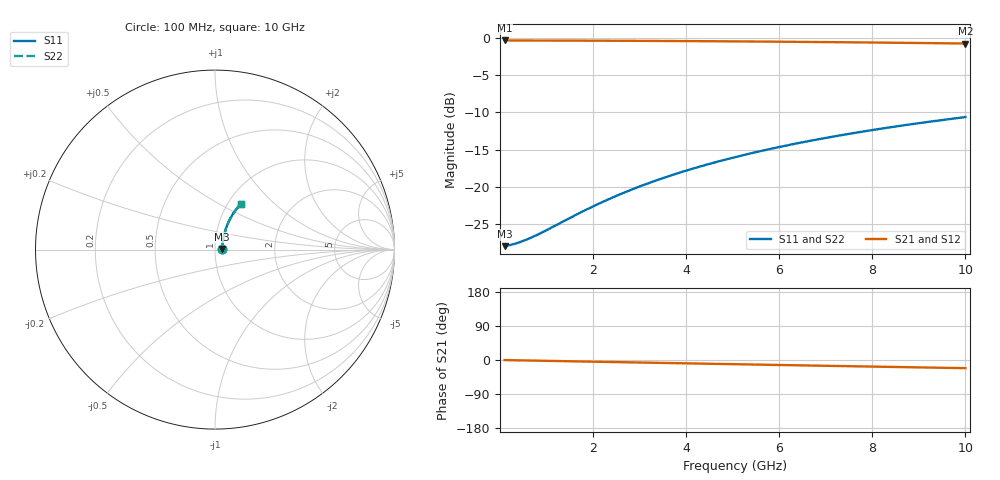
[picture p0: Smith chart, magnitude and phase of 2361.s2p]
# Hz S RI R 50.00
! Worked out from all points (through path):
!   100 points, 100 MHz to 10 GHz, reference 50 ohm
!   highest |S21| = -0.35 dB at 100 MHz (marker M1); lowest = -0.8 dB at 10 GHz (marker M2)
!   group delay of S21, straight-line fit = 6 ps
!   lowest |S11| = -28.0 dB at 100 MHz (marker M3), VSWR 1.08, Z = 54.2 + j0.316 ohm
!   |S11| at or under -10 dB: start of sweep to end of sweep
!   |S22| runs from -28.0 to -10.6 dB; largest |S21 - S12| = 0
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1e8  0.0399 0.00291  0.9601 -0.00372  0.9601 -0.00372  0.0399 0.00291
3e8  0.0404 0.00873  0.9596 -0.0111  0.9596 -0.0111  0.0404 0.00873
4e8  0.0406 0.0116  0.9594 -0.0148  0.9594 -0.0148  0.0406 0.0116
5e8  0.0408 0.0145  0.9591 -0.0186  0.9591 -0.0186  0.0408 0.0145
7e8  0.0413 0.0203  0.9587 -0.026  0.9587 -0.026  0.0413 0.0203
1e9  0.0421 0.029  0.9578 -0.037  0.9578 -0.037  0.0421 0.029
1.8e9  0.0451 0.052  0.9548 -0.0665  0.9548 -0.0665  0.0451 0.052
2.2e9  0.0471 0.0634  0.9527 -0.0811  0.9527 -0.0811  0.0471 0.0634
2.6e9  0.0494 0.0748  0.9504 -0.0956  0.9504 -0.0956  0.0494 0.0748
3e9  0.052 0.086  0.9477 -0.1101  0.9477 -0.1101  0.052 0.086
3.4e9  0.0549 0.0971  0.9447 -0.1244  0.9447 -0.1244  0.0549 0.0971
3.8e9  0.0582 0.1081  0.9413 -0.1386  0.9413 -0.1386  0.0582 0.1081
4.2e9  0.0618 0.119  0.9376 -0.1527  0.9376 -0.1527  0.0618 0.119
4.6e9  0.0657 0.1297  0.9336 -0.1667  0.9336 -0.1667  0.0657 0.1297
5.1e9  0.071 0.1429  0.9281 -0.1839  0.9281 -0.1839  0.071 0.1429
5.5e9  0.0755 0.1533  0.9234 -0.1975  0.9234 -0.1975  0.0755 0.1533
5.9e9  0.0804 0.1635  0.9184 -0.2109  0.9184 -0.2109  0.0804 0.1635
6.7e9  0.091 0.1832  0.9075 -0.2372  0.9075 -0.2372  0.091 0.1832
7.5e9  0.1026 0.2022  0.8955 -0.2626  0.8955 -0.2626  0.1026 0.2022
8.4e9  0.1168 0.2225  0.8808 -0.2902  0.8808 -0.2902  0.1168 0.2225
9.2e9  0.1305 0.2395  0.8667 -0.3137  0.8667 -0.3137  0.1305 0.2395
1e10  0.1449 0.2555  0.8518 -0.3362  0.8518 -0.3362  0.1449 0.2555
